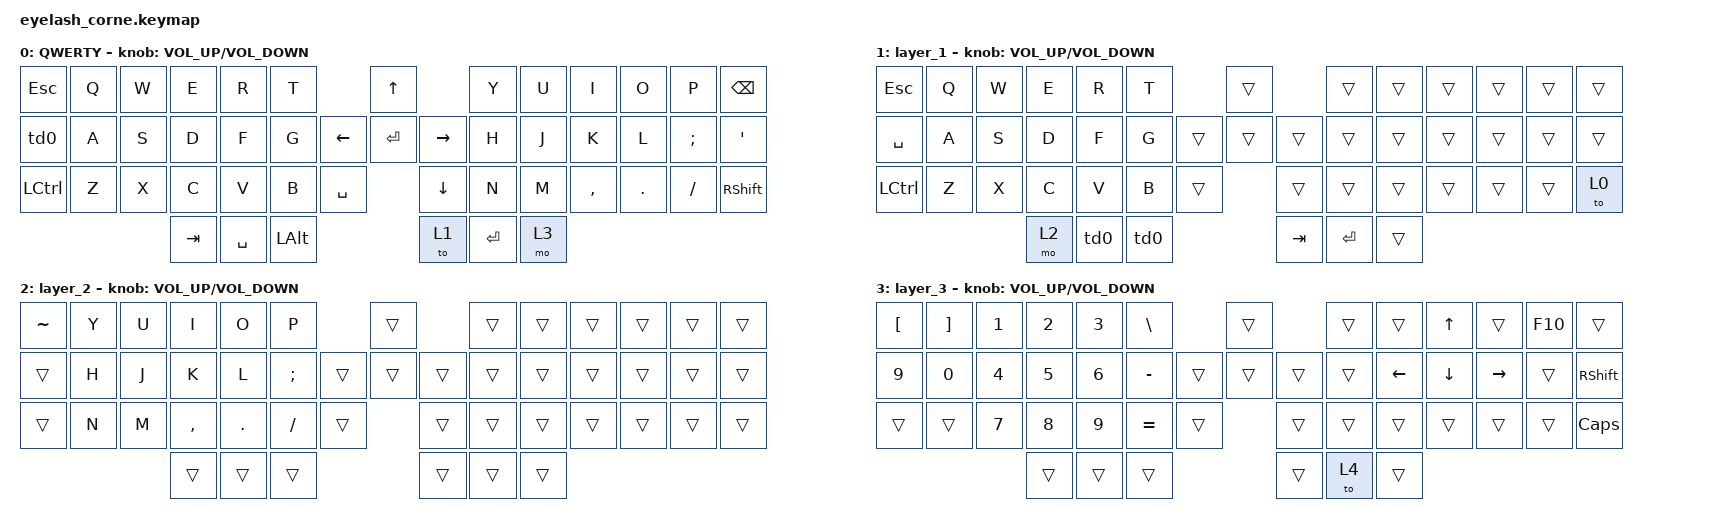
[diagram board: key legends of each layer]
#include <behaviors.dtsi>
#include <dt-bindings/zmk/bt.h>
#include <dt-bindings/zmk/keys.h>
#include <dt-bindings/zmk/mouse.h>
#include <dt-bindings/zmk/outputs.h>
#include <dt-bindings/zmk/rgb.h>

#include <input/processors.dtsi>

/*

   &mmv_input_listener {
       input-processors = <&zip_xy_scaler 2 1>;
   };

   &msc_input_listener {
       input-processors = <&zip_xy_scaler 2 1>;
   };

 */

#define ZMK_MOUSE_DEFAULT_MOVE_VAL 1200  // 600
#define ZMK_MOUSE_DEFAULT_SCRL_VAL 20    // 10

/ {
    behaviors {
        td0: td0 {
            compatible = "zmk,behavior-tap-dance";
            display-name = "Shift/Caps Lock Tap Dance";
            #binding-cells = <0>;
            bindings = <&kp LEFT_SHIFT>, <&kp CAPS>;
        };
    };

    rgb_encoder: rgb_encoder {
        compatible = "zmk,behavior-sensor-rotate";
        #sensor-binding-cells = <0>;
        bindings = <&rgb_ug RGB_BRI>, <&rgb_ug RGB_BRD>;
    };

    scroll_encoder: scroll_encoder {
        compatible = "zmk,behavior-sensor-rotate";
        #sensor-binding-cells = <0>;
        bindings = <&msc SCRL_DOWN>, <&msc SCRL_UP>;
        tap-ms = <30>;
    };

    keymap {
        compatible = "zmk,keymap";

        default_layer {
            display-name = "QWERTY";
            bindings = <
&kp ESC    &kp Q  &kp W      &kp E     &kp R  &kp T                              &kp UP                &kp Y        &kp U  &kp I      &kp O    &kp P     &kp BSPC
&td0       &kp A  &kp S      &kp D     &kp F  &kp G                    &kp LEFT  &kp ENTER  &kp RIGHT  &kp H        &kp J  &kp K      &kp L    &kp SEMI  &kp SQT
&kp LCTRL  &kp Z  &kp X      &kp C     &kp V  &kp B       &kp SPACE              &kp DOWN              &kp N        &kp M  &kp COMMA  &kp DOT  &kp FSLH  &kp RSHFT
                             &kp TAB   &kp SPACE   &kp LALT                                    &to 1   &kp ENTER    &mo 3
            >;
            sensor-bindings = <&inc_dec_kp C_VOLUME_UP C_VOLUME_DOWN>;
        };

        layer_1 {

            bindings = <
&kp ESC    &kp Q  &kp W      &kp E     &kp R  &kp T                              &trans                &trans       &trans &trans     &trans   &trans    &trans
&kp SPACE  &kp A  &kp S      &kp D     &kp F  &kp G                    &trans    &trans     &trans     &trans       &trans &trans     &trans   &trans    &trans
&kp LCTRL  &kp Z  &kp X      &kp C     &kp V  &kp B       &trans                 &trans                &trans       &trans &trans     &trans   &trans    &to 0  
                             &mo 2     &td0        &td0                                        &kp TAB &kp ENTER    &trans
            >;
            sensor-bindings = <&inc_dec_kp C_VOLUME_UP C_VOLUME_DOWN>;
        };

        layer_2 {

            bindings = <
&kp TILDE  &kp Y  &kp U      &kp I     &kp O   &kp P                             &trans                &trans       &trans &trans     &trans   &trans    &trans
&trans     &kp H  &kp J      &kp K     &kp L   &kp SEMI                &trans    &trans     &trans     &trans       &trans &trans     &trans   &trans    &trans
&trans     &kp N  &kp M      &kp COMMA &kp DOT &kp FSLH   &trans                 &trans                &trans       &trans &trans     &trans   &trans    &trans 
                             &trans    &trans      &trans                                      &trans  &trans       &trans 

            >;
            sensor-bindings = <&inc_dec_kp C_VOLUME_UP C_VOLUME_DOWN>;
        };

        layer_3 {

           bindings = <
&kp LBKT   &kp RBKT  &kp N1  &kp N2    &kp N3  &kp BSLH                          &trans                &trans       &trans &kp UP     &trans   &kp F10   &trans
&kp N9     &kp N0    &kp N4  &kp N5    &kp N6  &kp MINUS               &trans    &trans     &trans     &trans       &kp LEFT &kp DOWN &kp RIGHT &trans   &kp RSHIFT
&trans     &trans    &kp N7  &kp N8    &kp N9  &kp EQUAL  &trans                 &trans                &trans       &trans &trans     &trans   &trans   &kp CAPSLOCK
                             &trans    &trans      &trans                                      &trans  &to 4        &trans  
            >;
            sensor-bindings = <&inc_dec_kp C_VOLUME_UP C_VOLUME_DOWN>;
        };

        layer_4 {
            status = "reserved";
        };

        layer_5 {
            status = "reserved";
        };
    };
};
